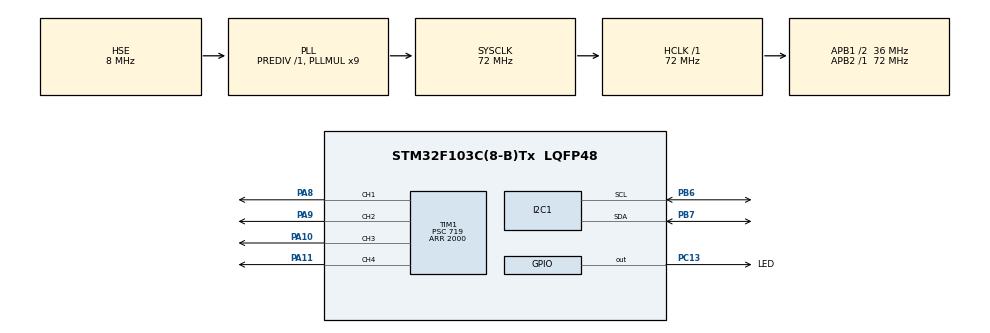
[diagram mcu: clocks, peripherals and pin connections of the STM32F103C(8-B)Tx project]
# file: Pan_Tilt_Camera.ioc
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I2C1.OwnAddress=51
Mcu.Family=STM32F1
Mcu.Name=STM32F103C(8-B)Tx
Mcu.Package=LQFP48
NVIC.I2C1_ER_IRQn=true\:0\:0\:false\:false\:true\:true
NVIC.I2C1_EV_IRQn=true\:0\:0\:false\:false\:true\:true
NVIC.PriorityGroup=NVIC_PRIORITYGROUP_4
NVIC.TIM2_IRQn=true\:0\:0\:false\:false\:true\:true
PA10.Signal=S_TIM1_CH3
PA11.Signal=S_TIM1_CH4
PA13.Mode=Trace_Asynchronous_SW
PA13.Signal=SYS_JTMS-SWDIO
PA14.Mode=Trace_Asynchronous_SW
PA14.Signal=SYS_JTCK-SWCLK
PA8.Signal=S_TIM1_CH1
PA9.Signal=S_TIM1_CH2
PB3.Mode=Trace_Asynchronous_SW
PB3.Signal=SYS_JTDO-TRACESWO
PB6.Mode=I2C
PB6.Signal=I2C1_SCL
PB7.Mode=I2C
PB7.Signal=I2C1_SDA
PC13-TAMPER-RTC.GPIO_Label=LED
PC13-TAMPER-RTC.Signal=GPIO_Output
PD0-OSC_IN.Mode=HSE-External-Oscillator
PD0-OSC_IN.Signal=RCC_OSC_IN
PD1-OSC_OUT.Mode=HSE-External-Oscillator
PD1-OSC_OUT.Signal=RCC_OSC_OUT
ProjectManager.HeapSize=0x200
ProjectManager.StackSize=0x400
ProjectManager.TargetToolchain=TrueSTUDIO
RCC.AHBFreq_Value=72000000
RCC.APB1CLKDivider=RCC_HCLK_DIV2
RCC.APB1Freq_Value=36000000
RCC.APB1TimFreq_Value=72000000
RCC.APB2Freq_Value=72000000
RCC.APB2TimFreq_Value=72000000
RCC.HCLKFreq_Value=72000000
RCC.PLLMUL=RCC_PLL_MUL9
RCC.PLLSourceVirtual=RCC_PLLSOURCE_HSE
RCC.SYSCLKFreq_VALUE=72000000
RCC.SYSCLKSource=RCC_SYSCLKSOURCE_PLLCLK
RCC.USBFreq_Value=72000000
SH.S_TIM1_CH1.0=TIM1_CH1,PWM Generation1 CH1
SH.S_TIM1_CH2.0=TIM1_CH2,PWM Generation2 CH2
SH.S_TIM1_CH3.0=TIM1_CH3,PWM Generation3 CH3
SH.S_TIM1_CH4.0=TIM1_CH4,PWM Generation4 CH4
TIM1.AutoReloadPreload=TIM_AUTORELOAD_PRELOAD_DISABLE
TIM1.Channel-PWM\ Generation1\ CH1=TIM_CHANNEL_1
TIM1.Channel-PWM\ Generation2\ CH2=TIM_CHANNEL_2
TIM1.Channel-PWM\ Generation3\ CH3=TIM_CHANNEL_3
TIM1.Channel-PWM\ Generation4\ CH4=TIM_CHANNEL_4
TIM1.ClockDivision=TIM_CLOCKDIVISION_DIV1
TIM1.Period=2000
TIM1.Prescaler=719
TIM1.Pulse-PWM\ Generation1\ CH1=150
TIM1.Pulse-PWM\ Generation2\ CH2=150
TIM1.Pulse-PWM\ Generation3\ CH3=150
TIM1.Pulse-PWM\ Generation4\ CH4=150
TIM2.Period=1000-1
TIM2.Prescaler=72-1
VP_TIM2_VS_ClockSourceINT.Mode=Internal
board=Pan_Tilt_Camera

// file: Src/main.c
/**
 ******************************************************************************
 * @file           : main.c
 * @brief          : Main program body
 ******************************************************************************
 ** This notice applies to any and all portions of this file
 * that are not between comment pairs USER CODE BEGIN and
 * USER CODE END. Other portions of this file, whether
 * inserted by the user or by software development tools
 * are owned by their respective copyright owners.
 *
 * COPYRIGHT(c) 2018 STMicroelectronics
 *
 * Redistribution and use in source and binary forms, with or without modification,
 * are permitted provided that the following conditions are met:
 *   1. Redistributions of source code must retain the above copyright notice,
 *      this list of conditions and the following disclaimer.
 *   2. Redistributions in binary form must reproduce the above copyright notice,
 *      this list of conditions and the following disclaimer in the documentation
 *      and/or other materials provided with the distribution.
 *   3. Neither the name of STMicroelectronics nor the names of its contributors
 *      may be used to endorse or promote products derived from this software
 *      without specific prior written permission.
 *
 * THIS SOFTWARE IS PROVIDED BY THE COPYRIGHT HOLDERS AND CONTRIBUTORS "AS IS"
 * AND ANY EXPRESS OR IMPLIED WARRANTIES, INCLUDING, BUT NOT LIMITED TO, THE
 * IMPLIED WARRANTIES OF MERCHANTABILITY AND FITNESS FOR A PARTICULAR PURPOSE ARE
 * DISCLAIMED. IN NO EVENT SHALL THE COPYRIGHT HOLDER OR CONTRIBUTORS BE LIABLE
 * FOR ANY DIRECT, INDIRECT, INCIDENTAL, SPECIAL, EXEMPLARY, OR CONSEQUENTIAL
 * DAMAGES (INCLUDING, BUT NOT LIMITED TO, PROCUREMENT OF SUBSTITUTE GOODS OR
 * SERVICES; LOSS OF USE, DATA, OR PROFITS; OR BUSINESS INTERRUPTION) HOWEVER
 * CAUSED AND ON ANY THEORY OF LIABILITY, WHETHER IN CONTRACT, STRICT LIABILITY,
 * OR TORT (INCLUDING NEGLIGENCE OR OTHERWISE) ARISING IN ANY WAY OUT OF THE USE
 * OF THIS SOFTWARE, EVEN IF ADVISED OF THE POSSIBILITY OF SUCH DAMAGE.
 *
 ******************************************************************************
 */
#include "main.h"
#include "stm32f1xx_hal.h"
#include "i2c.h"
#include "tim.h"
#include "gpio.h"

/* USER CODE BEGIN PV */
/* Private variables ---------------------------------------------------------*/

/* USER CODE END PV */

void SystemClock_Config(void);

/* USER CODE BEGIN PFP */
/* Private function prototypes -----------------------------------------------*/

/* USER CODE END PFP */

/* USER CODE BEGIN 0 */

volatile uint8_t receiveCompleted;
volatile uint8_t dataReady;
//describes mode of operation ... set value, sweep
volatile uint8_t mode;
//designed flag for mode
//it is set i.e. in timer's callback
volatile uint8_t mode_flag;

uint8_t buffer[128];

uint8_t command;
uint16_t value;
float value_float;
uint8_t channel;
int16_t speed;
uint16_t value_max;
uint16_t value_min;
int8_t sweep_direction; //values of -1 or +1
uint32_t ret;

uint32_t availableChannels[] = { TIM_CHANNEL_1, TIM_CHANNEL_2, TIM_CHANNEL_3,
TIM_CHANNEL_4 };

uint32_t time;
uint32_t last_time;
uint8_t get_time;

/* USER CODE END 0 */

int main(void) {

	/* MCU Configuration----------------------------------------------------------*/

	/* Reset of all peripherals, Initializes the Flash interface and the Systick. */
	HAL_Init();

	/* Configure the system clock */
	SystemClock_Config();

	/* Initialize all configured peripherals */
	MX_GPIO_Init();
	MX_I2C1_Init();
	MX_TIM1_Init();
	MX_TIM2_Init();
	/* USER CODE BEGIN 2 */

	__HAL_TIM_SET_COMPARE(&htim1, TIM_CHANNEL_1, 150);
	__HAL_TIM_SET_COMPARE(&htim1, TIM_CHANNEL_2, 150);
	__HAL_TIM_SET_COMPARE(&htim1, TIM_CHANNEL_3, 150);
	__HAL_TIM_SET_COMPARE(&htim1, TIM_CHANNEL_4, 150);
	HAL_TIM_PWM_Start(&htim1, TIM_CHANNEL_1);
	HAL_TIM_PWM_Start(&htim1, TIM_CHANNEL_2);
	HAL_TIM_PWM_Start(&htim1, TIM_CHANNEL_3);
	HAL_TIM_PWM_Start(&htim1, TIM_CHANNEL_4);
	mode = 0;

	//to detect some ongoing OLD transmission
	get_time = 1;

	//start base timer for 1 ms generator
	HAL_TIM_Base_Start_IT(&htim2);

	ret = HAL_I2C_Slave_Receive_IT(&hi2c1, buffer, 8);

	/* USER CODE END 2 */

	/* Infinite loop */
	/* USER CODE BEGIN WHILE */
	while (1) {
		if (receiveCompleted == 1) {
			receiveCompleted = 0;
			ret = HAL_I2C_Slave_Receive_IT(&hi2c1, buffer, 8);
		}

		//check if there is ongoing OLD transfer
		if (hi2c1.XferCount < 8) {
			if (get_time == 1) {
				last_time = HAL_GetTick();
				get_time = 0;
			} else {
				time = HAL_GetTick();
				if (time - last_time > 200) {
					//reset transmission
					HAL_I2C_DeInit(&hi2c1);
					HAL_Delay(20);
					MX_I2C1_Init();
					HAL_Delay(20);
					ret = HAL_I2C_Slave_Receive_IT(&hi2c1, buffer, 8);
					get_time = 1;
				}
			}
		}

		//reading 8 bytes
		//1st byte -- command

		if (dataReady == 1) {
			dataReady = 0;
			command = (uint8_t) buffer[0];
			switch (command) {
			//set position
			case 0: {
				//0 -- command
				//1 -- channel
				//2-3 -- set value
				channel = buffer[1];
				value = *(uint16_t*) &buffer[2];

				__HAL_TIM_SET_COMPARE(&htim1, availableChannels[channel],
						value);

				mode = 0;

				break;
			}
				//scan
			case 1: {
				//0 -- command
				//1 -- channel
				//2-3 -- set value (speed) [ 0.1 impulses / sec]
				//4-5 -- max value
				//6-7 -- min value

				channel = buffer[1];
				speed = *(uint16_t*) &buffer[2];
				value_max = *(uint16_t*) &buffer[4];
				value_min = *(uint16_t*) &buffer[6];

				//get current value to start from
				value = __HAL_TIM_GET_COMPARE(&htim1,
						availableChannels[channel]);

				if (value > value_max)
					value = value_max;
				if (value < value_min)
					value = value_min;

				value_float = value;

				sweep_direction = +1;

				mode = 1;
				break;
			}
			}

		}

		if (mode_flag == 1) {
			mode_flag = 0;
			if (mode == 1) {

				if (value >= value_max)
					sweep_direction = -1;
				if (value <= value_min)
					sweep_direction = +1;

				// direction * time base * speed * sweep coefficient
				value_float += (float) sweep_direction * 0.001f * (float) speed
						* 0.1f;
				value = value_float;

				__HAL_TIM_SET_COMPARE(&htim1, availableChannels[channel],
						value);
			}
		}

		if (mode != 1)
			HAL_Delay(10);

		/* USER CODE END WHILE */

	}

}

void SystemClock_Config(void) {

	RCC_OscInitTypeDef RCC_OscInitStruct;
	RCC_ClkInitTypeDef RCC_ClkInitStruct;

	/**Initializes the CPU, AHB and APB busses clocks
	 */
	RCC_OscInitStruct.OscillatorType = RCC_OSCILLATORTYPE_HSE;
	RCC_OscInitStruct.HSEState = RCC_HSE_ON;
	RCC_OscInitStruct.HSEPredivValue = RCC_HSE_PREDIV_DIV1;
	RCC_OscInitStruct.HSIState = RCC_HSI_ON;
	RCC_OscInitStruct.PLL.PLLState = RCC_PLL_ON;
	RCC_OscInitStruct.PLL.PLLSource = RCC_PLLSOURCE_HSE;
	RCC_OscInitStruct.PLL.PLLMUL = RCC_PLL_MUL9;
	if (HAL_RCC_OscConfig(&RCC_OscInitStruct) != HAL_OK) {
		_Error_Handler(__FILE__, __LINE__);
	}

	/**Initializes the CPU, AHB and APB busses clocks
	 */
	RCC_ClkInitStruct.ClockType = RCC_CLOCKTYPE_HCLK | RCC_CLOCKTYPE_SYSCLK
			| RCC_CLOCKTYPE_PCLK1 | RCC_CLOCKTYPE_PCLK2;
	RCC_ClkInitStruct.SYSCLKSource = RCC_SYSCLKSOURCE_PLLCLK;
	RCC_ClkInitStruct.AHBCLKDivider = RCC_SYSCLK_DIV1;
	RCC_ClkInitStruct.APB1CLKDivider = RCC_HCLK_DIV2;
	RCC_ClkInitStruct.APB2CLKDivider = RCC_HCLK_DIV1;

	if (HAL_RCC_ClockConfig(&RCC_ClkInitStruct, FLASH_LATENCY_2) != HAL_OK) {
		_Error_Handler(__FILE__, __LINE__);
	}

	/**Configure the Systick interrupt time
	 */
	HAL_SYSTICK_Config(HAL_RCC_GetHCLKFreq() / 1000);

	/**Configure the Systick
	 */
	HAL_SYSTICK_CLKSourceConfig(SYSTICK_CLKSOURCE_HCLK);

	/* SysTick_IRQn interrupt configuration */
	HAL_NVIC_SetPriority(SysTick_IRQn, 0, 0);
}

/* USER CODE BEGIN 4 */

void HAL_TIM_PeriodElapsedCallback(TIM_HandleTypeDef *htim) {
	if (htim == &htim2) {
		//check if it is sweep mode
		if (mode == 1) {
			mode_flag = 1;
		}
	}
}

void HAL_I2C_SlaveRxCpltCallback(I2C_HandleTypeDef *hi2c) {
	receiveCompleted = 1;
	dataReady = 1;
}

/* USER CODE END 4 */

void _Error_Handler(char *file, int line) {
	while (1) {
	}
}

/************************ (C) COPYRIGHT STMicroelectronics *****END OF FILE****/
